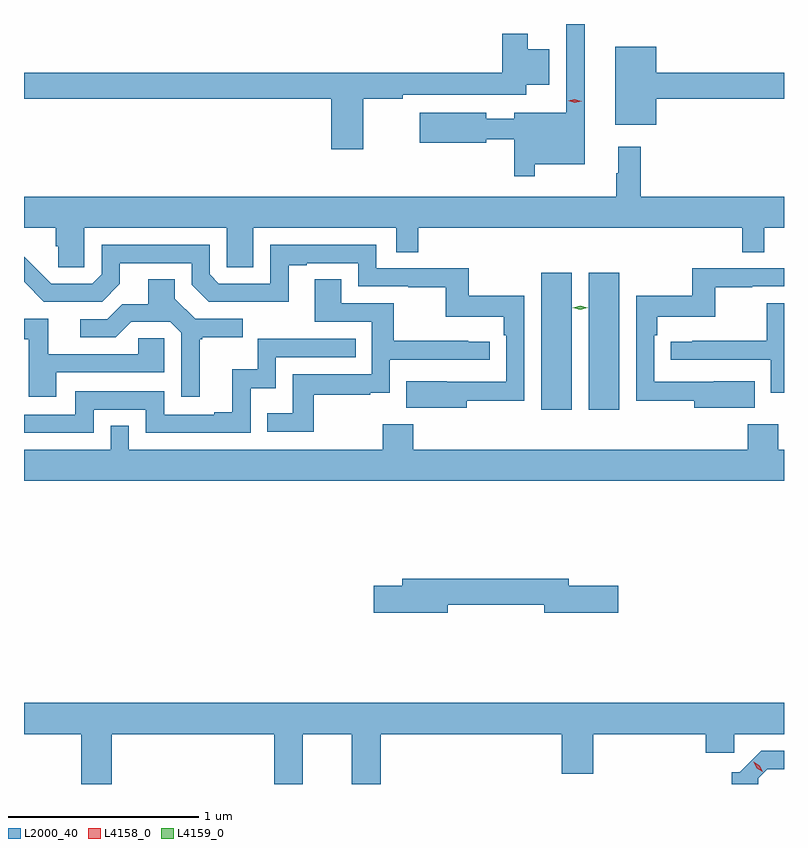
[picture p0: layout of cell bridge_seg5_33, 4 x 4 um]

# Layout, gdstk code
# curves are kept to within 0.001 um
import gdstk
lib = gdstk.Library(unit=1e-6, precision=1e-09)
def R(c, l, rs):  # rectangles x0, y0, x1, y1
    for r in rs: c.add(gdstk.rectangle(r[:2], r[2:], *l))
def P(c, l, *ps):  # polygons
    for p in ps: c.add(gdstk.Polygon(p, *l))
L2000_40 = (2000, 40)
L4158_0 = (4158, 0)
L4159_0 = (4159, 0)

bridge_seg5_33 = lib.new_cell('bridge_seg5_33')
R(bridge_seg5_33, L2000_40, [(1001.381,891.768,1001.542,892.489), (1001.63,891.768,1001.791,892.489)])
P(bridge_seg5_33, L2000_40, [(1001.347,893.06),(1001.608,893.06),(1001.608,893.797),(1001.511,893.797),(1001.511,893.329),(1001.237,893.329),(1001.237,893.298),(1001.092,893.298),(1001.092,893.329),(1000.74,893.329),(1000.74,893.171),(1001.092,893.171),(1001.092,893.19),(1001.237,893.19),(1001.237,892.995),(1001.347,892.995)],
  [(1000.444,893.404),(1000.652,893.404),(1000.652,893.424),(1001.302,893.424),(1001.302,893.477),(1001.422,893.477),(1001.422,893.665),(1001.308,893.665),(1001.308,893.746),(1001.174,893.746),(1001.174,893.54),(998.658,893.54),(998.658,893.404),(1000.274,893.404),(1000.274,893.139),(1000.444,893.139)],
  [(1001.986,893.404),(1002.658,893.404),(1002.658,893.54),(1001.986,893.54),(1001.986,893.677),(1001.771,893.677),(1001.771,893.267),(1001.986,893.267)],
  [(998.976,892.724),(999.726,892.724),(999.726,892.516),(999.865,892.516),(999.865,892.724),(1000.617,892.724),(1000.617,892.597),(1000.733,892.597),(1000.733,892.724),(1002.439,892.724),(1002.439,892.597),(1002.555,892.597),(1002.555,892.724),(1002.658,892.724),(1002.658,892.888),(1001.903,892.888),(1001.903,893.152),(1001.786,893.152),(1001.786,893.012),(1001.775,893.012),(1001.775,892.888),(998.658,892.888),(998.658,892.724),(998.825,892.724),(998.825,892.626),(998.839,892.626),(998.839,892.516),(998.976,892.516)],
  [(1000.987,891.814),(1001.292,891.814),(1001.292,892.366),(1000.999,892.366),(1000.999,892.512),(1000.512,892.512),(1000.512,892.635),(999.954,892.635),(999.954,892.431),(999.684,892.431),(999.636,892.479),(999.636,892.635),(999.066,892.635),(999.066,892.479),(999.018,892.431),(998.802,892.431),(998.66,892.573),(998.658,892.573),(998.658,892.44),(998.763,892.335),(999.069,892.335),(999.163,892.429),(999.163,892.539),(999.54,892.539),(999.54,892.425),(999.63,892.335),(1000.051,892.334),(1000.051,892.527),(1000.147,892.527),(1000.147,892.539),(1000.416,892.539),(1000.416,892.416),(1000.681,892.416),(1000.681,892.411),(1000.878,892.411),(1000.878,892.256),(1001.183,892.256),(1001.183,892.16),(1001.196,892.16),(1001.196,891.915),(1000.669,891.916),(1000.669,891.776),(1000.987,891.776)],
  [(1002.503,891.916),(1002.289,891.916),(1002.289,891.915),(1001.976,891.915),(1001.976,892.16),(1001.99,892.16),(1001.99,892.256),(1002.295,892.256),(1002.295,892.411),(1002.491,892.411),(1002.491,892.416),(1002.658,892.416),(1002.658,892.512),(1002.174,892.512),(1002.174,892.366),(1001.88,892.366),(1001.88,891.814),(1002.185,891.814),(1002.185,891.776),(1002.503,891.776)],
  [(1000.183,891.846),(1000.481,891.846),(1000.481,891.857),(1000.584,891.857),(1000.584,892.029),(1001.11,892.029),(1001.11,892.125),(1000.997,892.125),(1000.997,892.13),(1000.604,892.13),(1000.604,892.326),(1000.327,892.326),(1000.327,892.454),(1000.187,892.454),(1000.187,892.23),(1000.488,892.23),(1000.488,891.954),(1000.072,891.954),(1000.072,891.748),(999.937,891.748),(999.937,891.651),(1000.183,891.651)],
  [(999.583,892.137),(999.595,892.137),(999.595,892.148),(999.808,892.148),(999.808,892.245),(999.558,892.245),(999.451,892.352),(999.451,892.454),(999.311,892.454),(999.311,892.322),(999.176,892.322),(999.096,892.242),(998.955,892.242),(998.955,892.149),(999.142,892.149),(999.223,892.23),(999.429,892.23),(999.486,892.173),(999.486,891.834),(999.583,891.834)],
  [(1002.658,892.326),(1002.568,892.326),(1002.568,892.13),(1002.175,892.13),(1002.175,892.125),(1002.063,892.125),(1002.063,892.029),(1002.588,892.029),(1002.588,891.857),(1002.658,891.857)],
  [(998.827,891.963),(999.396,891.963),(999.396,892.143),(999.259,892.143),(999.259,892.059),(998.785,892.059),(998.785,892.245),(998.658,892.245),(998.658,892.137),(998.683,892.137),(998.683,891.834),(998.827,891.834)],
  [(999.024,891.768),(999.3,891.768),(999.3,891.645),(999.852,891.645),(999.852,891.881),(999.984,891.881),(999.984,892.044),(1000.403,892.044),(1000.403,892.14),(999.888,892.14),(999.888,891.979),(999.755,891.979),(999.755,891.754),(999.659,891.754),(999.659,891.741),(999.396,891.741),(999.396,891.864),(998.928,891.864),(998.928,891.741),(998.658,891.741),(998.658,891.645),(999.024,891.645)],
  [(1002.658,891.556),(1002.627,891.556),(1002.627,891.691),(1002.467,891.691),(1002.467,891.556),(1000.706,891.556),(1000.706,891.691),(1000.546,891.691),(1000.546,891.556),(999.21,891.556),(999.21,891.683),(999.114,891.683),(999.114,891.556),(998.658,891.556),(998.658,891.392),(1002.658,891.392)],
  [(1000.888,890.74),(1001.396,890.74),(1001.396,890.698),(1001.785,890.698),(1001.785,890.84),(1001.524,890.84),(1001.524,890.876),(1000.649,890.876),(1000.649,890.84),(1000.5,890.84),(1000.5,890.698),(1000.888,890.698)],
  [(999.119,890.06),(999.974,890.06),(999.974,889.797),(1000.126,889.797),(1000.126,890.06),(1000.382,890.06),(1000.382,889.797),(1000.535,889.797),(1000.535,890.06),(1001.489,890.06),(1001.489,889.852),(1001.654,889.852),(1001.654,890.06),(1002.245,890.06),(1002.245,889.962),(1002.396,889.962),(1002.396,890.06),(1002.658,890.06),(1002.658,890.224),(998.658,890.224),(998.658,890.06),(998.959,890.06),(998.959,889.797),(999.119,889.797)],
  [(1002.522,889.827),(1002.57,889.875),(1002.658,889.875),(1002.658,889.971),(1002.537,889.971),(1002.426,889.86),(1002.383,889.86),(1002.383,889.797),(1002.522,889.797)])
P(bridge_seg5_33, L4158_0, [(1001.557,893.382),(1001.522,893.394),(1001.521,893.394),(1001.522,893.394),(1001.557,893.402),(1001.592,893.391),(1001.593,893.391),(1001.592,893.391)],
  [(1002.546,889.861),(1002.515,889.88),(1002.499,889.913),(1002.499,889.913),(1002.499,889.913),(1002.53,889.894),(1002.546,889.861),(1002.546,889.861)])
P(bridge_seg5_33, L4159_0, [(1001.586,892.293),(1001.546,892.303),(1001.546,892.303),(1001.546,892.303),(1001.586,892.313),(1001.626,892.303),(1001.626,892.303),(1001.626,892.303)])

lib.write_gds('bridge_seg5_33.gds')
